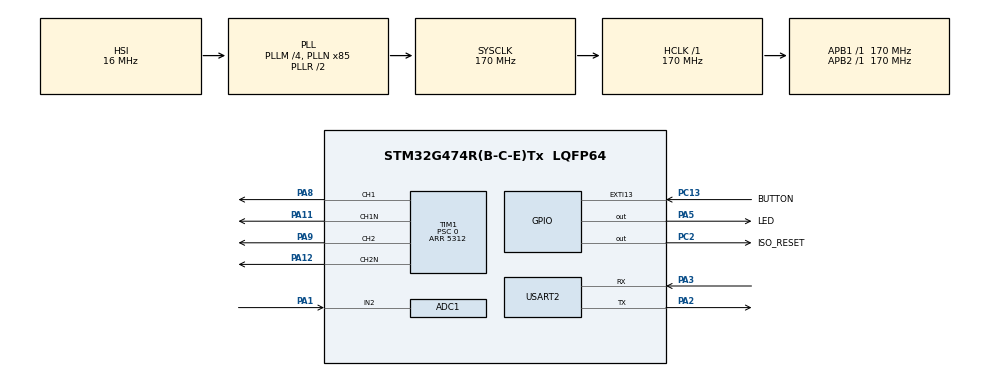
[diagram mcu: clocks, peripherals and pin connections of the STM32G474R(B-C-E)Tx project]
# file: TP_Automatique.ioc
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ADC1.Channel-3\#ChannelRegularConversion=ADC_CHANNEL_2
ADC1.NbrOfConversionFlag=1
ADC1.OffsetNumber-3\#ChannelRegularConversion=ADC_OFFSET_NONE
ADC1.Rank-3\#ChannelRegularConversion=1
ADC1.SamplingTime-3\#ChannelRegularConversion=ADC_SAMPLETIME_12CYCLES_5
ADC1.master=1
Mcu.Family=STM32G4
Mcu.Name=STM32G474R(B-C-E)Tx
Mcu.Package=LQFP64
NVIC.EXTI15_10_IRQn=true\:0\:0\:false\:false\:true\:true\:true\:true
NVIC.PriorityGroup=NVIC_PRIORITYGROUP_4
NVIC.USART2_IRQn=true\:0\:0\:false\:false\:true\:true\:true\:true
PA1.Mode=IN2-Single-Ended
PA1.Signal=ADC1_IN2
PA11.Mode=PWM Generation1 CH1 CH1N
PA11.Signal=TIM1_CH1N
PA12.Mode=PWM Generation2 CH2 CH2N
PA12.Signal=TIM1_CH2N
PA13.GPIO_Label=T_SWDIO
PA13.Mode=Serial_Wire
PA13.Signal=SYS_JTMS-SWDIO
PA14.GPIO_Label=T_SWCLK
PA14.Mode=Serial_Wire
PA14.Signal=SYS_JTCK-SWCLK
PA2.Mode=Asynchronous
PA2.Signal=USART2_TX
PA3.Mode=Asynchronous
PA3.Signal=USART2_RX
PA5.GPIO_Label=LED
PA5.Signal=GPIO_Output
PA8.Signal=S_TIM1_CH1
PA9.Signal=S_TIM1_CH2
PC13.GPIO_Label=BUTTON
PC13.Signal=GPXTI13
PC14-OSC32_IN.Mode=LSE-External-Oscillator
PC14-OSC32_IN.Signal=RCC_OSC32_IN
PC15-OSC32_OUT.Mode=LSE-External-Oscillator
PC15-OSC32_OUT.Signal=RCC_OSC32_OUT
PC2.GPIO_Label=ISO_RESET
PC2.Signal=GPIO_Output
PF0-OSC_IN.Mode=HSE-External-Oscillator
PF0-OSC_IN.Signal=RCC_OSC_IN
PF1-OSC_OUT.Mode=HSE-External-Oscillator
PF1-OSC_OUT.Signal=RCC_OSC_OUT
ProjectManager.HeapSize=0x200
ProjectManager.StackSize=0x400
ProjectManager.TargetToolchain=STM32CubeIDE
RCC.ADC12Freq_Value=170000000
RCC.ADC345Freq_Value=170000000
RCC.AHBFreq_Value=170000000
RCC.APB1Freq_Value=170000000
RCC.APB1TimFreq_Value=170000000
RCC.APB2Freq_Value=170000000
RCC.APB2TimFreq_Value=170000000
RCC.CortexFreq_Value=170000000
RCC.EXTERNAL_CLOCK_VALUE=12288000
RCC.HCLKFreq_Value=170000000
RCC.HSE_VALUE=24000000
RCC.HSI48_VALUE=48000000
RCC.HSI_VALUE=16000000
RCC.PLLM=RCC_PLLM_DIV4
RCC.PLLN=85
RCC.RTCClockSelection=RCC_RTCCLKSOURCE_LSE
RCC.SYSCLKFreq_VALUE=170000000
RCC.SYSCLKSource=RCC_SYSCLKSOURCE_PLLCLK
RCC.USBFreq_Value=170000000
RCC.VCOOutputFreq_Value=340000000
SH.S_TIM1_CH1.0=TIM1_CH1,PWM Generation1 CH1 CH1N
SH.S_TIM1_CH2.0=TIM1_CH2,PWM Generation2 CH2 CH2N
TIM1.Channel-PWM\ Generation1\ CH1\ CH1N=TIM_CHANNEL_1
TIM1.Channel-PWM\ Generation2\ CH2\ CH2N=TIM_CHANNEL_2
TIM1.CounterMode=TIM_COUNTERMODE_CENTERALIGNED1
TIM1.DeadTime=210
TIM1.PeriodNoDither=5312
TIM1.Prescaler=0
TIM1.PulseNoDither_1=2656
TIM1.PulseNoDither_2=2656
USART2.VirtualMode-Asynchronous=VM_ASYNC
VP_SYS_VS_DBSignals.Mode=DisableDeadBatterySignals
board=NUCLEO-G474RE

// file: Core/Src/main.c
/* USER CODE BEGIN Header */
/**
 ******************************************************************************
 * @file           : main.c
 * @brief          : Main program body
 * @brief
 * LE code dans le main permet de créer le shell dans lequel nous entrerons les commandes pour le moteur
 * Nous configurons aussi la configuration de la vitesse du moteur avec son initialisation dans le shell, puis sa
 *convertion en valeur numérique et la modification de  la valeur du rapport cyclique,
 *convertion d'où l'accélération ou la décélération du moteur

 *
 ******************************************************************************
 * @attention
 *
 * Copyright (c) 2022 STMicroelectronics.
 * All rights reserved.
 *
 * This software is licensed under terms that can be found in the LICENSE file
 * in the root directory of this software component.
 * If no LICENSE file comes with this software, it is provided AS-IS.
 *
 ******************************************************************************
 */
/* USER CODE END Header */
#include "main.h"
#include "adc.h"
#include "tim.h"
#include "usart.h"
#include "gpio.h"

/* USER CODE BEGIN PD */
#define UART_TX_BUFFER_SIZE 64
#define UART_RX_BUFFER_SIZE 1
#define CMD_BUFFER_SIZE 64
#define MAX_ARGS 9
// LF = line feed, saut de ligne
#define ASCII_LF 0x0A
// CR = carriage return, retour chariot
#define ASCII_CR 0x0D
// DEL = delete
#define ASCII_DEL 0x7F
//vitesse maximale du moteur
#define Max_Pulse_Motor 5312

/* USER CODE END PD */

/* USER CODE BEGIN PV */

uint8_t prompt[]="user@Nucleo-STM32G431>>";
uint8_t started[]=
		"\r\n*-----------------------------*"
		"\r\n| Welcome on Nucleo-STM32G431 |"
		"\r\n*-----------------------------*"
		"\r\n";
uint8_t newline[]="\r\n";
uint8_t cmdNotFound[]="Command not found\r\n";
uint8_t help[]=" Les commandes disponibles sont : pinout, start, stop \r\n";
uint8_t pinout[] ="Les branches connectees sont : Timer et UART\n\r";
uint8_t powerOn[]="Power ON\r\n";
uint8_t powerOff[]="Power OFF\r\n";
uint8_t vitesse[]="la vitesse est de ";
uint8_t valeur_vitesse[4];
uint8_t buffer_affichage_vitesse[100];

uint32_t uartRxReceived;
uint8_t uartRxBuffer[UART_RX_BUFFER_SIZE];
uint8_t uartTxBuffer[UART_TX_BUFFER_SIZE];

extern GPIO_PinState PinState;

/* USER CODE END PV */

void SystemClock_Config(void);

int main(void)
{
  /* USER CODE BEGIN 1 */
	char	 	cmdBuffer[CMD_BUFFER_SIZE];
	int 		idx_cmd;
	char* 		argv[MAX_ARGS];
	int		 	argc = 0;
	char*		token;
	int 		newCmdReady = 0;

  /* USER CODE END 1 */

  /* MCU Configuration--------------------------------------------------------*/

  /* Reset of all peripherals, Initializes the Flash interface and the Systick. */
  HAL_Init();

  /* Configure the system clock */
  SystemClock_Config();

  /* Initialize all configured peripherals */
  MX_GPIO_Init();
  MX_TIM1_Init();
  MX_USART2_UART_Init();
  MX_ADC1_Init();
  /* USER CODE BEGIN 2 */

	memset(argv,NULL,MAX_ARGS*sizeof(char*));
	memset(cmdBuffer,NULL,CMD_BUFFER_SIZE*sizeof(char));
	memset(uartRxBuffer,NULL,UART_RX_BUFFER_SIZE*sizeof(char));
	memset(uartTxBuffer,NULL,UART_TX_BUFFER_SIZE*sizeof(char));

	HAL_UART_Receive_IT(&huart2, uartRxBuffer, UART_RX_BUFFER_SIZE);
	HAL_Delay(10);
	HAL_UART_Transmit(&huart2, started, sizeof(started), HAL_MAX_DELAY);
	HAL_UART_Transmit(&huart2, prompt, sizeof(prompt), HAL_MAX_DELAY);

	HAL_TIM_PWM_Start(&htim1,TIM_CHANNEL_1);
	HAL_TIM_PWM_Start(&htim1,TIM_CHANNEL_2);
	HAL_TIMEx_PWMN_Start(&htim1,TIM_CHANNEL_1);
	HAL_TIMEx_PWMN_Start(&htim1, TIM_CHANNEL_2);

	HAL_GPIO_WritePin(ISO_RESET_GPIO_Port, ISO_RESET_Pin, 0);
	HAL_ADCEx_Calibration_Start(&hadc1,ADC_SINGLE_ENDED);

  /* USER CODE END 2 */

  /* Infinite loop */
  /* USER CODE BEGIN WHILE */
	while (1)
	{
		// uartRxReceived is set to 1 when a new character is received on uart 1
		if(uartRxReceived){
			switch(uartRxBuffer[0]){
			// Nouvelle ligne, instruction à traiter
			case ASCII_CR:
				HAL_UART_Transmit(&huart2, newline, sizeof(newline), HAL_MAX_DELAY);
				cmdBuffer[idx_cmd] = '\0';
				argc = 0;
				token = strtok(cmdBuffer, " ");
				while(token!=NULL){
					argv[argc++] = token;
					token = strtok(NULL, " ");
				}

				idx_cmd = 0;
				newCmdReady = 1;
				break;
				// Suppression du dernier caractère
			case ASCII_DEL:
				cmdBuffer[idx_cmd--] = '\0';
				HAL_UART_Transmit(&huart2, uartRxBuffer, UART_RX_BUFFER_SIZE, HAL_MAX_DELAY);
				break;
				// Nouveau caractère
			default:
				cmdBuffer[idx_cmd++] = uartRxBuffer[0];
				HAL_UART_Transmit(&huart2, uartRxBuffer, UART_RX_BUFFER_SIZE, HAL_MAX_DELAY);
			}
			uartRxReceived = 0;
		}

		if(newCmdReady){
			if(strcmp(argv[0],"set")==0){
				if(strcmp(argv[1],"PA5")==0){
					HAL_GPIO_WritePin(LED_GPIO_Port, LED_Pin, atoi(argv[2]));
					sprintf(uartTxBuffer,"Switch on/off led : %d\r\n",atoi(argv[2]));
					HAL_UART_Transmit(&huart2, uartTxBuffer, 32, HAL_MAX_DELAY);
				}
				else{
					HAL_UART_Transmit(&huart2, cmdNotFound, sizeof(cmdNotFound), HAL_MAX_DELAY);
				}
			}
			else if(strcmp(argv[0],"get")==0)
			{
				HAL_UART_Transmit(&huart2, cmdNotFound, sizeof(cmdNotFound), HAL_MAX_DELAY);
			}

			else if(strcmp(argv[0],"help")==0)
			{
				HAL_UART_Transmit(&huart2, help, sizeof(help), HAL_MAX_DELAY);
			}
			else if(strcmp(argv[0],"pinout")==0)
			{
				HAL_UART_Transmit(&huart2, pinout, sizeof(pinout), HAL_MAX_DELAY);
			}
			else if(strcmp(argv[0],"start")==0)
			{
				HAL_UART_Transmit(&huart2, powerOn, sizeof(powerOn), HAL_MAX_DELAY);
				HAL_GPIO_WritePin(ISO_RESET_GPIO_Port, ISO_RESET_Pin, 1);
				HAL_Delay(1);
				//			HAL_GPIO_WritePin(LED_GPIO_Port, LED_Pin, 0);
				HAL_GPIO_WritePin(ISO_RESET_GPIO_Port, ISO_RESET_Pin, 0);
			}
			else if(strcmp(argv[0],"ADC")==0)
			{
				HAL_ADC_Start (&hadc1);
				HAL_ADC_PollForConversion(&hadc1,12);
				float adcVal = HAL_ADC_GetValue(&hadc1);

				//float courant=(((adcVal/4096)*3.3)-2.5)*12;

				sprintf(uartTxBuffer,"ADC valeur de courant : %f %\n\r",adcVal);
				//sprintf(uartTxBuffer,"ADC valeur de courant : %f %\n\r",courant);
				HAL_UART_Transmit(&huart2, uartTxBuffer, strlen(uartTxBuffer), HAL_MAX_DELAY);

			}

			else if(strcmp(argv[0],"stop")==0)
			{
				HAL_UART_Transmit(&huart2, powerOff, sizeof(powerOff), HAL_MAX_DELAY);
			}

			else if(strncmp(argv[0],"speed=",6)==0 )
			{

				int i;
				int speed_value;
				for (i=0;i<6;i++){
					valeur_vitesse[i]=argv[0][6+i];
				}
				speed_value= atoi(valeur_vitesse);
				if(speed_value>Max_Pulse_Motor){
					speed_value=Max_Pulse_Motor;
				}
				TIM1->CCR1=speed_value*Max_Pulse_Motor/100;
				TIM1->CCR2=(100-speed_value)*Max_Pulse_Motor/100;

				sprintf(buffer_affichage_vitesse,"La valeur de la vitesse est : %d \r\n",speed_value);
				HAL_UART_Transmit(&huart2, buffer_affichage_vitesse, sizeof(buffer_affichage_vitesse), HAL_MAX_DELAY);

			}

			else{
				HAL_UART_Transmit(&huart2, cmdNotFound, sizeof(cmdNotFound), HAL_MAX_DELAY);
			}
			HAL_UART_Transmit(&huart2, prompt, sizeof(prompt), HAL_MAX_DELAY);
			newCmdReady = 0;

			memset(argv,NULL,MAX_ARGS*sizeof(char*));

		}

		//		Sur l'appui du bouton bleu de la carte avec une gestion d'interruption lors de l'appui (EXTI)

		//PinState = HAL_GPIO_ReadPin(BUTTON_GPIO_Port, BUTTON_Pin);  // get current state of pin

    /* USER CODE END WHILE */

	}
}

void SystemClock_Config(void)
{
  RCC_OscInitTypeDef RCC_OscInitStruct = {0};
  RCC_ClkInitTypeDef RCC_ClkInitStruct = {0};

  /** Configure the main internal regulator output voltage
  */
  HAL_PWREx_ControlVoltageScaling(PWR_REGULATOR_VOLTAGE_SCALE1_BOOST);

  /** Initializes the RCC Oscillators according to the specified parameters
  * in the RCC_OscInitTypeDef structure.
  */
  RCC_OscInitStruct.OscillatorType = RCC_OSCILLATORTYPE_HSI;
  RCC_OscInitStruct.HSIState = RCC_HSI_ON;
  RCC_OscInitStruct.HSICalibrationValue = RCC_HSICALIBRATION_DEFAULT;
  RCC_OscInitStruct.PLL.PLLState = RCC_PLL_ON;
  RCC_OscInitStruct.PLL.PLLSource = RCC_PLLSOURCE_HSI;
  RCC_OscInitStruct.PLL.PLLM = RCC_PLLM_DIV4;
  RCC_OscInitStruct.PLL.PLLN = 85;
  RCC_OscInitStruct.PLL.PLLP = RCC_PLLP_DIV2;
  RCC_OscInitStruct.PLL.PLLQ = RCC_PLLQ_DIV2;
  RCC_OscInitStruct.PLL.PLLR = RCC_PLLR_DIV2;
  if (HAL_RCC_OscConfig(&RCC_OscInitStruct) != HAL_OK)
  {
    Error_Handler();
  }

  /** Initializes the CPU, AHB and APB buses clocks
  */
  RCC_ClkInitStruct.ClockType = RCC_CLOCKTYPE_HCLK|RCC_CLOCKTYPE_SYSCLK
                              |RCC_CLOCKTYPE_PCLK1|RCC_CLOCKTYPE_PCLK2;
  RCC_ClkInitStruct.SYSCLKSource = RCC_SYSCLKSOURCE_PLLCLK;
  RCC_ClkInitStruct.AHBCLKDivider = RCC_SYSCLK_DIV1;
  RCC_ClkInitStruct.APB1CLKDivider = RCC_HCLK_DIV1;
  RCC_ClkInitStruct.APB2CLKDivider = RCC_HCLK_DIV1;

  if (HAL_RCC_ClockConfig(&RCC_ClkInitStruct, FLASH_LATENCY_4) != HAL_OK)
  {
    Error_Handler();
  }
}

/* USER CODE BEGIN 4 */

void HAL_UART_RxCpltCallback(UART_HandleTypeDef *huart){
	uartRxReceived=1;
	HAL_UART_Receive_IT(&huart2,uartRxBuffer,UART_RX_BUFFER_SIZE);
}

/* USER CODE END 4 */

void Error_Handler(void)
{
	__disable_irq();
	while (1)
	{
	}
}
